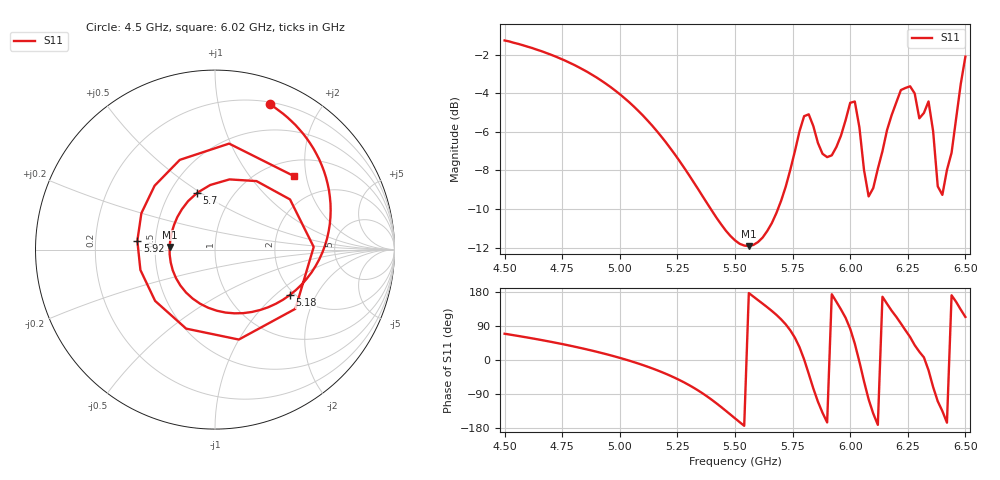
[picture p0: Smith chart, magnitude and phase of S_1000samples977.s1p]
! TOUCHSTONE file generated by CST MICROWAVE STUDIO
! Date and time: Sat Oct 29 23:39:24 2022
! Project name: L.cst
! Parameters = {Di=1.27; Epsilon_r=1.56; InnerDiameter=1.27; Length=2; Lf=10; Lg=60; OuterConductorThickness=0.2921; OuterDiameter=3.6; Wf=3; Wp=41.2; de=1.5; df=6.8; g=0.8; gx=1.89565; gy=2.2651; h=2.34; hf=1.524; px=11.5926; py=14.1396; w=9.7; wx=9.69692; wy=11.8745}
! Header version: 2018
! Port assignment regex: !\s*Touchstone port\s*([0-9]+)\s*=\s*(CST MWS port|CST DS port)\s*([0-9]+|Zmin|Zmax)\s*\(\"(.*)\"\)(\s*mode\s*([0-9]+))?.*
! Touchstone port assignment:
! Touchstone port 1 = CST MWS port 1 ("")
# GHz S DB R 50
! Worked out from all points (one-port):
!   101 points, 4.5 GHz to 6.5 GHz, reference 50 ohm
!   lowest |S11| = -11.9 dB at 5.56 GHz (marker M1), VSWR 1.68, Z = 29.8 + j0.94 ohm
!   |S11| at or under -10 dB: 5.395 GHz to 5.687 GHz (291.8 MHz wide, 5.27 % of centre)
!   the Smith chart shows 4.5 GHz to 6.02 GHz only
!   S11 on the Smith chart (normalised r, x): 4.5 GHz: 0.22, +1.42; 5.18 GHz: 1.88, -1.25; 5.7 GHz: 0.68, +0.48; 5.92 GHz: 0.39, +0.05; 6.02 GHz: 1.32, +1.70
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4.5  -1.27 69.3
4.76  -2.30 40.8
5  -4.05 5.6
5.18  -6.24 -31.4
5.26  -7.53 -53.2
5.5  -11.63 -153.9
5.56  -11.93 176.7
5.7  -9.58 107.3
5.76  -7.01 58.8
5.8  -5.19 1.5
5.84  -5.71 -75.2
5.88  -7.14 -139.4
5.92  -7.22 173.5
5.96  -6.20 133.4
6  -4.50 82.4
6.02  -4.43 43.1
6.04  -5.77 -4.6
6.06  -7.98 -56.4
6.1  -8.92 -141.3
6.14  -7.01 166.9
6.22  -3.84 96.3
6.26  -3.64 60.6
6.32  -5.02 6.9
6.34  -4.43 -26.9
6.36  -5.97 -71.4
6.42  -7.98 -165.3
6.46  -5.29 153.2
6.5  -2.10 113.6
